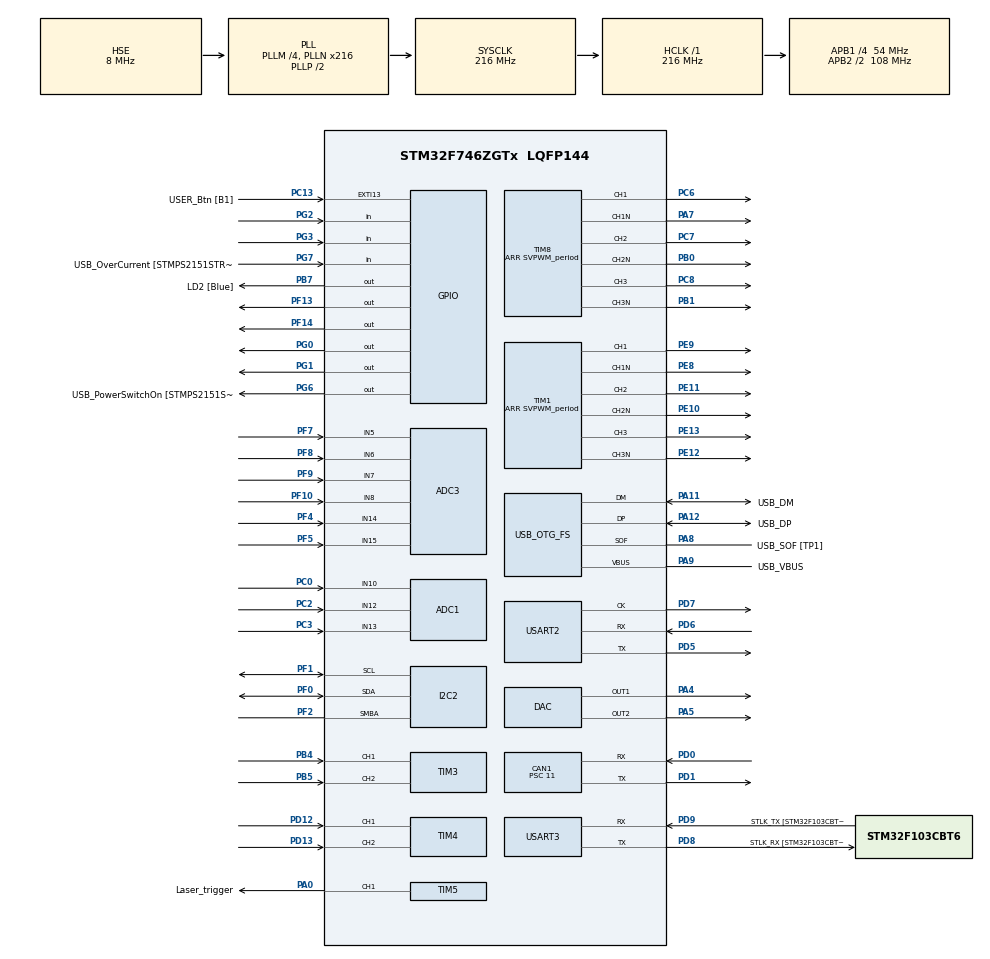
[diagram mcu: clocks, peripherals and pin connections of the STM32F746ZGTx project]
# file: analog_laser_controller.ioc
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ADC1.Channel-0\#ChannelRegularConversion=ADC_CHANNEL_10
ADC1.Channel-1\#ChannelRegularConversion=ADC_CHANNEL_10
ADC1.Channel-2\#ChannelRegularConversion=ADC_CHANNEL_13
ADC1.ContinuousConvMode=ENABLE
ADC1.NbrOfConversion=3
ADC1.NbrOfConversionFlag=1
ADC1.Rank-0\#ChannelRegularConversion=1
ADC1.Rank-1\#ChannelRegularConversion=2
ADC1.Rank-2\#ChannelRegularConversion=3
ADC1.SamplingTime-0\#ChannelRegularConversion=ADC_SAMPLETIME_112CYCLES
ADC1.SamplingTime-1\#ChannelRegularConversion=ADC_SAMPLETIME_56CYCLES
ADC1.SamplingTime-2\#ChannelRegularConversion=ADC_SAMPLETIME_112CYCLES
ADC1.ScanConvMode=ADC_SCAN_ENABLE
ADC1.master=1
ADC3.Channel-0\#ChannelRegularConversion=ADC_CHANNEL_5
ADC3.Channel-1\#ChannelRegularConversion=ADC_CHANNEL_6
ADC3.Channel-2\#ChannelRegularConversion=ADC_CHANNEL_7
ADC3.Channel-3\#ChannelRegularConversion=ADC_CHANNEL_8
ADC3.Channel-4\#ChannelRegularConversion=ADC_CHANNEL_14
ADC3.Channel-5\#ChannelRegularConversion=ADC_CHANNEL_15
ADC3.ContinuousConvMode=ENABLE
ADC3.NbrOfConversion=6
ADC3.NbrOfConversionFlag=1
ADC3.Rank-0\#ChannelRegularConversion=1
ADC3.Rank-1\#ChannelRegularConversion=2
ADC3.Rank-2\#ChannelRegularConversion=3
ADC3.Rank-3\#ChannelRegularConversion=4
ADC3.Rank-4\#ChannelRegularConversion=5
ADC3.Rank-5\#ChannelRegularConversion=6
ADC3.SamplingTime-0\#ChannelRegularConversion=ADC_SAMPLETIME_112CYCLES
ADC3.SamplingTime-1\#ChannelRegularConversion=ADC_SAMPLETIME_112CYCLES
ADC3.SamplingTime-2\#ChannelRegularConversion=ADC_SAMPLETIME_112CYCLES
ADC3.SamplingTime-3\#ChannelRegularConversion=ADC_SAMPLETIME_112CYCLES
ADC3.SamplingTime-4\#ChannelRegularConversion=ADC_SAMPLETIME_112CYCLES
ADC3.SamplingTime-5\#ChannelRegularConversion=ADC_SAMPLETIME_112CYCLES
CAN1.BS1=CAN_BS1_14TQ
CAN1.BS2=CAN_BS2_8TQ
CAN1.CalculateBaudRate=213438
CAN1.CalculateTimeBit=4685
CAN1.CalculateTimeQuantum=203.7037037037037
CAN1.Prescaler=11
Dma.ADC3.0.Direction=DMA_PERIPH_TO_MEMORY
Dma.ADC3.0.FIFOMode=DMA_FIFOMODE_DISABLE
Dma.ADC3.0.Instance=DMA2_Stream0
Dma.ADC3.0.MemDataAlignment=DMA_MDATAALIGN_HALFWORD
Dma.ADC3.0.MemInc=DMA_MINC_ENABLE
Dma.ADC3.0.Mode=DMA_CIRCULAR
Dma.ADC3.0.PeriphDataAlignment=DMA_PDATAALIGN_HALFWORD
Dma.ADC3.0.PeriphInc=DMA_PINC_DISABLE
Dma.ADC3.0.Priority=DMA_PRIORITY_LOW
Dma.Request0=ADC3
I2C2.Timeout=0x00008293
I2C2.Timing=0x20404768
Mcu.Family=STM32F7
Mcu.Name=STM32F746ZGTx
Mcu.Package=LQFP144
Mcu.UserConstants=SVPWM_period,4050
NVIC.DMA2_Stream0_IRQn=true\:0\:0\:false\:false\:true\:false\:true\:true
NVIC.OTG_FS_IRQn=true\:0\:0\:false\:false\:true\:false\:true\:true
NVIC.PriorityGroup=NVIC_PRIORITYGROUP_4
PA0/WKUP.GPIO_Label=Laser_trigger
PA0/WKUP.Signal=S_TIM5_CH1
PA10.GPIO_Label=USB_ID
PA10.Signal=USB_OTG_FS_ID
PA11.GPIO_Label=USB_DM
PA11.Mode=Device_Only
PA11.Signal=USB_OTG_FS_DM
PA12.GPIO_Label=USB_DP
PA12.Mode=Device_Only
PA12.Signal=USB_OTG_FS_DP
PA13.GPIO_Label=TMS
PA13.Mode=Serial_Wire
PA13.Signal=SYS_JTMS-SWDIO
PA14.GPIO_Label=TCK
PA14.Mode=Serial_Wire
PA14.Signal=SYS_JTCK-SWCLK
PA3.Signal=S_TIM5_CH4
PA4.Signal=COMP_DAC1_group
PA5.Signal=COMP_DAC2_group
PA7.GPIO_PuPd=GPIO_PULLUP
PA7.Mode=Output Compare1 CH1 CH1N
PA7.Signal=TIM8_CH1N
PA8.GPIO_Label=USB_SOF [TP1]
PA8.Mode=Activate_SOF_FS
PA8.Signal=USB_OTG_FS_SOF
PA9.GPIO_Label=USB_VBUS
PA9.Mode=Activate_VBUS
PA9.Signal=USB_OTG_FS_VBUS
PB0.Mode=Output Compare2 CH2 CH2N
PB0.Signal=TIM8_CH2N
PB1.Mode=Output Compare3 CH3 CH3N
PB1.Signal=TIM8_CH3N
PB13.GPIO_Label=RMII_TXD1 [LAN8742A-CZ-TR_TXD1]
PB13.Signal=ETH_TXD1
PB15.Signal=S_TIM12_CH2
PB4.Signal=S_TIM3_CH1
PB5.Signal=S_TIM3_CH2
PB7.GPIO_Label=LD2 [Blue]
PB7.Signal=GPIO_Output
PB8.Signal=S_TIM10_CH1
PB9.Signal=S_TIM11_CH1
PC0.Signal=ADCx_IN10
PC1.GPIO_Label=RMII_MDC [LAN8742A-CZ-TR_MDC]
PC1.Signal=ETH_MDC
PC13.GPIO_Label=USER_Btn [B1]
PC13.Signal=GPXTI13
PC14/OSC32_IN.Mode=LSE-External-Oscillator
PC14/OSC32_IN.Signal=RCC_OSC32_IN
PC15/OSC32_OUT.Mode=LSE-External-Oscillator
PC15/OSC32_OUT.Signal=RCC_OSC32_OUT
PC2.Signal=ADCx_IN12
PC3.Signal=ADCx_IN13
PC6.Signal=S_TIM8_CH1
PC7.Signal=S_TIM8_CH2
PC8.Signal=S_TIM8_CH3
PD0.Mode=CAN_Activate
PD0.Signal=CAN1_RX
PD1.Mode=CAN_Activate
PD1.Signal=CAN1_TX
PD12.Signal=S_TIM4_CH1
PD13.Signal=S_TIM4_CH2
PD3.Signal=USART2_CTS
PD4.Signal=USART2_RTS
PD5.Mode=Synchronous
PD5.Signal=USART2_TX
PD6.Mode=Synchronous
PD6.Signal=USART2_RX
PD7.Mode=Synchronous
PD7.Signal=USART2_CK
PD8.GPIO_Label=STLK_RX [STM32F103CBT6_PA3]
PD8.GPIO_PuPd=GPIO_PULLUP
PD8.Mode=Asynchronous
PD8.Signal=USART3_TX
PD9.GPIO_Label=STLK_TX [STM32F103CBT6_PA2]
PD9.GPIO_PuPd=GPIO_PULLUP
PD9.Mode=Asynchronous
PD9.Signal=USART3_RX
PE10.Mode=Output Compare2 CH2 CH2N
PE10.Signal=TIM1_CH2N
PE11.Signal=S_TIM1_CH2
PE12.Mode=Output Compare3 CH3 CH3N
PE12.Signal=TIM1_CH3N
PE13.Signal=S_TIM1_CH3
PE8.Mode=Output Compare1 CH1 CH1N
PE8.Signal=TIM1_CH1N
PE9.Signal=S_TIM1_CH1
PF0.Mode=SMBus-Alert-mode
PF0.Signal=I2C2_SDA
PF1.Mode=SMBus-Alert-mode
PF1.Signal=I2C2_SCL
PF10.Mode=IN8
PF10.Signal=ADC3_IN8
PF13.Signal=GPIO_Output
PF14.Signal=GPIO_Output
PF2.Mode=SMBus-Alert-mode
PF2.Signal=I2C2_SMBA
PF4.Mode=IN14
PF4.Signal=ADC3_IN14
PF5.Mode=IN15
PF5.Signal=ADC3_IN15
PF7.Mode=IN5
PF7.Signal=ADC3_IN5
PF8.Mode=IN6
PF8.Signal=ADC3_IN6
PF9.Mode=IN7
PF9.Signal=ADC3_IN7
PG0.Signal=GPIO_Output
PG1.Signal=GPIO_Output
PG2.Signal=GPIO_Input
PG3.Signal=GPIO_Input
PG6.GPIO_Label=USB_PowerSwitchOn [STMPS2151STR_EN]
PG6.Signal=GPIO_Output
PG7.GPIO_Label=USB_OverCurrent [STMPS2151STR_FAULT]
PG7.Signal=GPIO_Input
PH0/OSC_IN.GPIO_Label=MCO [STM32F103CBT6_PA8]
PH0/OSC_IN.Mode=HSE-External-Clock-Source
PH0/OSC_IN.Signal=RCC_OSC_IN
PH1/OSC_OUT.Mode=HSE-External-Clock-Source
PH1/OSC_OUT.Signal=RCC_OSC_OUT
ProjectManager.HeapSize=0x200
ProjectManager.StackSize=0x400
ProjectManager.TargetToolchain=STM32CubeIDE
RCC.48MHZClocksFreq_Value=24000000
RCC.AHBFreq_Value=216000000
RCC.APB1CLKDivider=RCC_HCLK_DIV4
RCC.APB1Freq_Value=54000000
RCC.APB1TimFreq_Value=108000000
RCC.APB2CLKDivider=RCC_HCLK_DIV2
RCC.APB2Freq_Value=108000000
RCC.APB2TimFreq_Value=216000000
RCC.CortexFreq_Value=216000000
RCC.HCLKFreq_Value=216000000
RCC.HSE_VALUE=8000000
RCC.HSI_VALUE=16000000
RCC.PLLM=4
RCC.PLLMUL=RCC_PLL_MUL9
RCC.PLLN=216
RCC.PLLQ=9
RCC.PRESCALERUSB=RCC_USBCLKSOURCE_PLL_DIV1_5
RCC.SYSCLKFreq_VALUE=216000000
RCC.SYSCLKSource=RCC_SYSCLKSOURCE_PLLCLK
RCC.SYSCLKSourceVirtual=RCC_SYSCLKSOURCE_PLLCLK
RCC.USBFreq_Value=48000000
RCC.VCOOutputFreq_Value=432000000
SH.ADCx_IN10.0=ADC1_IN10,IN10
SH.ADCx_IN12.0=ADC1_IN12,IN12
SH.ADCx_IN13.0=ADC1_IN13,IN13
SH.COMP_DAC1_group.0=DAC_OUT1,DAC_OUT1
SH.COMP_DAC2_group.0=DAC_OUT2,DAC_OUT2
SH.S_TIM10_CH1.0=TIM10_CH1
SH.S_TIM11_CH1.0=TIM11_CH1
SH.S_TIM12_CH2.0=TIM12_CH2
SH.S_TIM1_CH1.0=TIM1_CH1,Output Compare1 CH1 CH1N
SH.S_TIM1_CH2.0=TIM1_CH2,Output Compare2 CH2 CH2N
SH.S_TIM1_CH3.0=TIM1_CH3,Output Compare3 CH3 CH3N
SH.S_TIM3_CH1.0=TIM3_CH1,Encoder_Interface
SH.S_TIM3_CH2.0=TIM3_CH2,Encoder_Interface
SH.S_TIM4_CH1.0=TIM4_CH1,Encoder_Interface
SH.S_TIM4_CH2.0=TIM4_CH2,Encoder_Interface
SH.S_TIM5_CH1.0=TIM5_CH1,PWM Generation1 CH1
SH.S_TIM5_CH4.0=TIM5_CH4
SH.S_TIM8_CH1.0=TIM8_CH1,Output Compare1 CH1 CH1N
SH.S_TIM8_CH2.0=TIM8_CH2,Output Compare2 CH2 CH2N
SH.S_TIM8_CH3.0=TIM8_CH3,Output Compare3 CH3 CH3N
TIM1.Channel-Output\ Compare1\ CH1\ CH1N=TIM_CHANNEL_1
TIM1.Channel-Output\ Compare2\ CH2\ CH2N=TIM_CHANNEL_2
TIM1.Channel-Output\ Compare3\ CH3\ CH3N=TIM_CHANNEL_3
TIM1.CounterMode=TIM_COUNTERMODE_CENTERALIGNED1
TIM1.DeadTime=100
TIM1.Period=SVPWM_period
TIM1.Pulse-Output\ Compare1\ CH1\ CH1N=1000
TIM1.Pulse-Output\ Compare2\ CH2\ CH2N=1000
TIM1.Pulse-Output\ Compare3\ CH3\ CH3N=1000
TIM2.Prescaler=107
TIM3.EncoderMode=TIM_ENCODERMODE_TI12
TIM3.IC2Polarity=TIM_ICPOLARITY_FALLING
TIM4.EncoderMode=TIM_ENCODERMODE_TI12
TIM4.IC2Polarity=TIM_ICPOLARITY_FALLING
TIM5.AutoReloadPreload=TIM_AUTORELOAD_PRELOAD_ENABLE
TIM5.Channel-PWM\ Generation1\ CH1=TIM_CHANNEL_1
TIM5.CounterMode=TIM_COUNTERMODE_UP
TIM5.Period=5000
TIM5.Prescaler=108-1
TIM5.Pulse-PWM\ Generation1\ CH1=1000
TIM8.Channel-Output\ Compare1\ CH1\ CH1N=TIM_CHANNEL_1
TIM8.Channel-Output\ Compare2\ CH2\ CH2N=TIM_CHANNEL_2
TIM8.Channel-Output\ Compare3\ CH3\ CH3N=TIM_CHANNEL_3
TIM8.CounterMode=TIM_COUNTERMODE_CENTERALIGNED1
TIM8.DeadTime=100
TIM8.Period=SVPWM_period
TIM8.Pulse-Output\ Compare1\ CH1\ CH1N=1000
TIM8.Pulse-Output\ Compare2\ CH2\ CH2N=1000
TIM8.Pulse-Output\ Compare3\ CH3\ CH3N=1000
USART2.VirtualMode-Synchronous=VM_SYNC
USART3.VirtualMode-Asynchronous=VM_ASYNC
USB_DEVICE.CLASS_NAME_FS=CDC
USB_DEVICE.VirtualMode-CDC_FS=Cdc
USB_DEVICE.VirtualModeFS=Cdc_FS
USB_OTG_FS.VirtualMode=Device_Only
VP_ADC1_TempSens_Input.Mode=IN-TempSens
VP_ADC1_Vref_Input.Mode=IN-Vrefint
VP_TIM12_VS_ClockSourceITR.Mode=TriggerSource_ITR0
VP_TIM12_VS_ControllerModeTrigger.Mode=Trigger Mode
VP_TIM1_VS_ClockSourceINT.Mode=Internal
VP_TIM2_VS_ClockSourceINT.Mode=Internal
VP_TIM5_VS_ClockSourceINT.Mode=Internal
VP_TIM5_VS_OPM.Mode=OPM_bit
VP_USB_DEVICE_VS_USB_DEVICE_CDC_FS.Mode=CDC_FS
board=NUCLEO-F746ZG

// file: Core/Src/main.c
/* USER CODE BEGIN Header */
/**
  ******************************************************************************
  * @file           : main.c
  * @brief          : Main program body
  ******************************************************************************
  * @attention
  *
  * Copyright (c) 2023 STMicroelectronics.
  * All rights reserved.
  *
  * This software is licensed under terms that can be found in the LICENSE file
  * in the root directory of this software component.
  * If no LICENSE file comes with this software, it is provided AS-IS.
  *
  ******************************************************************************
  */
/* USER CODE END Header */
#include "main.h"
#include "usb_device.h"

/* USER CODE BEGIN Includes */
#include <arm_math.h>
#include "FOC.h"
/* USER CODE END Includes */

/* USER CODE BEGIN PTD */
//POCIS encoder BB=07 CC=12
/* USER CODE END PTD */

/* USER CODE BEGIN PD */
#define motor_pole_pairs 1 //number of motor pole pairs
#define accel_limit 3000 //accel limit
#define accel_limit2 2500 //accel limit
#define angle_range 0.2 //full scale angle range
#define angle_range2 0.335 //full scale angle range
/* USER CODE END PD */

ADC_HandleTypeDef hadc1;
ADC_HandleTypeDef hadc3;
DMA_HandleTypeDef hdma_adc3;

CAN_HandleTypeDef hcan1;

DAC_HandleTypeDef hdac;

SMBUS_HandleTypeDef hsmbus2;

TIM_HandleTypeDef htim1;
TIM_HandleTypeDef htim2;
TIM_HandleTypeDef htim3;
TIM_HandleTypeDef htim4;
TIM_HandleTypeDef htim5;
TIM_HandleTypeDef htim8;
TIM_HandleTypeDef htim12;

USART_HandleTypeDef husart2;
UART_HandleTypeDef huart3;

/* USER CODE BEGIN PV */
int16_t encoder1, encoder2;
float current_position,rot_angle, Torq_const,Torq_const2;
int current_sector;
uint32_t time_base,t1,t2,time_step,move_time_base,move_start_time,move_end_time;
float shaft_angle, electrical_angle, target_angle, angle_error, rms_error, current_position;
float move_start_position, move_position[2],move_distance,move_mid_point,target_profile, target_velocity;
float accel_time, decel_time, move_time;
uint16_t over_current=0,over_current2=0,over_current_count,over_current_count2;
float current_position2,rot_angle2, Torq_const2;
int current_sector2;
uint32_t move_time_base2,move_start_time2,move_end_time2;
float shaft_angle2, electrical_angle2, target_angle2, angle_error2, current_position2;
float move_start_position2, move_position2[2],move_distance2,move_mid_point2,target_profile2, target_velocity2;
float accel_time2, decel_time2, move_time2;

//float pid_K=1000, pid_Ki=0, pid_kd=50000, pid_out, tune=0;
float pid_K=200, pid_Ki=0, pid_kd=3000, pid_out, tune=0;
//float pid_K=10, pid_Ki=0, pid_kd=100, pid_out, tune=0;
float pid2_K=200, pid2_Ki=0, pid2_kd=3000, pid2_out, tune2=0;

//0.8226
//float rotor_offset1=5.51,rotor_offset2=5.14;
//float rotor_offset1=5.535,rotor_offset2=5.14;
//float rotor_offset1=0.8176,rotor_offset2=5.14;
//float rotor_offset1=0,rotor_offset2=2*2*_PI/3;
float home_offset=0, home2_offset=0;//4*_PI_div3;
float rotor[2],rotor2[2];
int motor_homed,motor2_homed;

int laser_on=0;
//float rotor_offset1=5.475,rotor_offset2=5.2;
/* USER CODE END PV */

void SystemClock_Config(void);
static void MX_GPIO_Init(void);
static void MX_DMA_Init(void);
static void MX_USART3_UART_Init(void);
static void MX_TIM1_Init(void);
static void MX_TIM8_Init(void);
static void MX_TIM2_Init(void);
static void MX_TIM3_Init(void);
static void MX_TIM4_Init(void);
static void MX_TIM5_Init(void);
static void MX_ADC1_Init(void);
static void MX_ADC3_Init(void);
static void MX_CAN1_Init(void);
static void MX_I2C2_SMBUS_Init(void);
static void MX_TIM12_Init(void);
static void MX_DAC_Init(void);
static void MX_USART2_Init(void);

/* USER CODE BEGIN 0 */
uint8_t usb_rx_buffer[15];
uint8_t usb_tx_buffer[14];
uint8_t usb_tx_buffer1[14];
uint8_t usb_tx_buffer2[14];

uint8_t usb_rx_flag=0;
float val = 1.2;
uint32_t var;
uint8_t Galvo1_target[]="0700 ";
uint8_t Galvo2_target[]="0700 ";
uint16_t target_position1=7000;
uint16_t target_position2=7000;
uint8_t Laser_t[]="000";
uint16_t laser_duration=0;
uint16_t encoder1_position, encoder2_position;
uint16_t temp1=-1, temp2=-1;
uint8_t buffer[] = "Hello, World!\r\n";
uint16_t AD_RES[6]; //adc test value

/* USER CODE END 0 */

int main(void)
{
  /* USER CODE BEGIN 1 */
struct usb_tx {
	int16_t encoder1, encoder2;
	uint32_t time;
	uint32_t laser_time;
	uint32_t rmse;
	uint32_t laser_on;
};

struct usb_tx galvo_tx, *ptr_galvo_tx;
ptr_galvo_tx=&galvo_tx;
  /* USER CODE END 1 */

  /* MCU Configuration--------------------------------------------------------*/

  /* Reset of all peripherals, Initializes the Flash interface and the Systick. */
  HAL_Init();

  /* USER CODE BEGIN Init */
  arm_pid_instance_f32 pid;
  arm_pid_instance_f32 pid2;
  // Initialize PID loop
//Motor1 PID control
  pid.Kp=pid_K;
  pid.Ki=pid_Ki;
  pid.Kd=pid_kd;
  arm_pid_init_f32(&pid, 1);

  //Motor2 PID control
    pid2.Kp=pid2_K;
    pid2.Ki=pid2_Ki;
    pid2.Kd=pid2_kd;
    arm_pid_init_f32(&pid2, 1);
  /* USER CODE END Init */

  /* Configure the system clock */
  SystemClock_Config();

  /* Initialize all configured peripherals */
  MX_GPIO_Init();
  MX_DMA_Init();
  MX_USART3_UART_Init();
  MX_USB_DEVICE_Init();
  MX_TIM1_Init();
  MX_TIM8_Init();
  MX_TIM2_Init();
  MX_TIM3_Init();
  MX_TIM4_Init();
  MX_TIM5_Init();
  MX_ADC1_Init();
  MX_ADC3_Init();
  MX_CAN1_Init();
  MX_I2C2_SMBUS_Init();
  MX_TIM12_Init();
  MX_DAC_Init();
  MX_USART2_Init();
  /* USER CODE BEGIN 2 */
  //1microsecond time base
  HAL_TIM_Base_Start(&htim2);

  //Dynamic homing to reduce static friction
 // SVPWM(12,electricalAngle(0.001,1),1);
 // SVPWM(12,electricalAngle(0.001,1),2);
  //HAL_Delay(500);
  //SVPWM(12,electricalAngle(rotor_offset1-0.05,1),1);
 // SVPWM(12,electricalAngle(rotor_offset2-0.05,1),2);
 //HAL_Delay(500);
 // SVPWM(12,electricalAngle(rotor_offset1,1),1);
//  SVPWM(12,electricalAngle(rotor_offset2,1),2);
  //SVPWM(0,electricalAngle(rotor_offset1,motor_pole_pairs),1);
 // SVPWM(0,electricalAngle(rotor_offset2,motor_pole_pairs),2);

  //HAL_DAC_Start(&hdac, DAC_CHANNEL_1);
  //HAL_DAC_Start(&hdac, DAC_CHANNEL_2);
  //Start SVPWM timers
  HAL_TIM_PWM_Start(&htim1, TIM_CHANNEL_1);
  HAL_TIMEx_PWMN_Start(&htim1, TIM_CHANNEL_1);
  HAL_TIM_PWM_Start(&htim1, TIM_CHANNEL_2);
  HAL_TIMEx_PWMN_Start(&htim1, TIM_CHANNEL_2);
  HAL_TIM_PWM_Start(&htim1, TIM_CHANNEL_3);
  HAL_TIMEx_PWMN_Start(&htim1, TIM_CHANNEL_3);

  HAL_TIM_PWM_Start(&htim8, TIM_CHANNEL_1);
  HAL_TIMEx_PWMN_Start(&htim8, TIM_CHANNEL_1);
  HAL_TIM_PWM_Start(&htim8, TIM_CHANNEL_2);
  HAL_TIMEx_PWMN_Start(&htim8, TIM_CHANNEL_2);
  HAL_TIM_PWM_Start(&htim8, TIM_CHANNEL_3);
  HAL_TIMEx_PWMN_Start(&htim8, TIM_CHANNEL_3);

  HAL_TIM_OnePulse_Start(&htim5, TIM_CHANNEL_1);
    TIM5->ARR = 0;
  //TIM5->CCMR1 = 0b1100000;
 //   SVPWM(1,electricalAngle(rotor_offset1+0.5,motor_pole_pairs),1);
 //   SVPWM(1,electricalAngle(rotor_offset2-0.5,motor_pole_pairs),2);

HAL_Delay(1000);
//TIM5->CR1 |= TIM_CR1_CEN;
//HAL_Delay(1000);
//TIM5->CR1 |= TIM_CR1_CEN;
//HAL_Delay(1000);
  //Start Encoders
  //Enable encoders
  HAL_TIM_Encoder_Start(&htim3, TIM_CHANNEL_ALL);
  HAL_TIM_Encoder_Start(&htim4, TIM_CHANNEL_ALL);
 //  SVPWM(0,electricalAngle(rotor_offset1,motor_pole_pairs),1);
//   SVPWM(0,electricalAngle(rotor_offset2,motor_pole_pairs),2);

 // TIM3->CNT=30000;
  encoder1 = __HAL_TIM_GET_COUNTER(&htim3);
  encoder2 = __HAL_TIM_GET_COUNTER(&htim4);
  //home
 // home_offset=align_mirror();
  home_offset=(3 * _PI / 2) - 0.2292; //+ 0.2; //_PI/4+_PI;//2.5*_PI_div3+_2PI;
  home2_offset= (2 *_PI) - 1.54;

	if(motor_homed==0)
	{
		SVPWM(1,electricalAngle((home_offset+_PI/2),motor_pole_pairs),1);
	  HAL_Delay(2000);
	  TIM3->CNT=0;
	  encoder1 = (int16_t) TIM3->CNT;

//	  rotor[0]=shaftAngle(encoder1);
//	  SVPWM(1,electricalAngle(rotor_offset1+0.2,motor_pole_pairs),1);
//	  HAL_Delay(2000);
//	  encoder1 = (int16_t) TIM3->CNT;
//	  rotor[1]=shaftAngle(encoder1);
	//  home_offset=(rotor[1]-rotor[0])/2;

	  SVPWM(1,electricalAngle((home2_offset+_PI/2),motor_pole_pairs),2);
	  HAL_Delay(2000);
	  TIM4->CNT=0;
	  encoder2 = (int16_t) TIM4->CNT;
		//  rotor2[0]=shaftAngle(encoder2);
		//  SVPWM(1,electricalAngle(rotor_offset1-0.5,motor_pole_pairs),2);
		//  HAL_Delay(2000);
		//  encoder2 = (int16_t) TIM4->CNT;
	//	  rotor2[1]=shaftAngle(encoder2);
		//  home2_offset=-(rotor2[1]-rotor2[0])/2;

		//  SVPWM(1,electricalAngle(rotor_offset2-0.5,motor_pole_pairs),2);
		//  HAL_Delay(1000);
		  motor_homed=1;

	}
	TIM3->CNT=0;
	encoder1 = (int16_t) TIM3->CNT;
	TIM4->CNT=0;
	encoder2 = (int16_t) TIM4->CNT;

	target_angle=shaftAngle(4800);//shaftAngle(4500);// 0.1;
	  target_angle2= shaftAngle(4800);//shaftAngle(4500);// 0.1;// 0.17;
	  move_position[0]=target_angle;
	  move_position[1]=target_angle;
	  move_position2[0]=target_angle2;
	   move_position2[1]=target_angle2;

   //HAL_Delay(1000);
  //read encoders
  // encoder1 =(float)TIM3->CNT-30000;
  // encoder2 = __HAL_TIM_GET_COUNTER(&htim4);

  /* USER CODE END 2 */

  /* Infinite loop */
  /* USER CODE BEGIN WHILE */

  //Code to test motor
 //  HAL_ADCEx_Calibration_Start(&hadc1, ADC_SINGLE_ENDED);
 //  HAL_ADCEx_Calibration_Start(&hadc1,ADC_SINGLE_ENDED);
   HAL_ADC_Start_DMA(&hadc3, &AD_RES, 6);
//  while (rot_angle<_2PI)
//  {
//  //	FOC5(rot_angle);
//
//	SVPWM(3,electricalAngle(rot_angle,1),1);
//	SVPWM(3,electricalAngle(rot_angle,1),2);
//  	rot_angle+=0.0001;
//  	//HAL_Delay(5);
//  	current_sector=get_sector(rot_angle);
//  	if(rot_angle>_2PI)
//  	{
//  		rot_angle=0;
//  		HAL_Delay(1500);
//  		//SVPWM(6,electricalAngle(0,1),2);
//  		//TIM3->CNT=0;
//  	}
//
//  	encoder1 = __HAL_TIM_GET_COUNTER(&htim3);
//  	encoder2 = __HAL_TIM_GET_COUNTER(&htim4);
//  	current_position=shaftAngle(encoder1);
//  	current_position2=shaftAngle(encoder2);
//  	pid_out=arm_pid_f32(&pid, angle_error);
//
//
//    // Start ADC Conversion
//     //HAL_ADC_Start(&hadc3);
//    // Poll ADC1 Perihperal & TimeOut = 1mSec
//   //  HAL_ADC_PollForConversion(&hadc3, 1);
//    // Read The ADC Conversion Result & Map It To PWM DutyCycle
//   //  AD_RES = HAL_ADC_GetValue(&hadc3);
//
//  }

  while (1)
  {
	  //calculate cycle time
	  	time_base=__HAL_TIM_GET_COUNTER(&htim2);
	 	t1=t2;
		t2=time_base;
		time_step=t2-t1;

	  //read encoders
		 encoder1 = (int16_t) TIM3->CNT;
		 //encoder1 = encoder1-30000;
		 encoder2 = (int16_t) TIM4->CNT;

	if (move_position[0]!=move_position[1])
	{
		move_start_time=time_base;
		move_position[1]=current_position;
		move_start_position=current_position;
		move_distance=move_position[0]-move_position[1];
		move_mid_point=move_position[1]+move_distance/2;
		//accel time in us
		accel_time=(float) sqrt(2*(fabs(move_distance))/accel_limit)*1e6;
		decel_time=accel_time;
		//duration of move (triangular profile)
		move_time=accel_time+accel_time;
		move_end_time=time_base+move_time;
		move_position[1]=move_position[0];
	}
		if (time_base<move_end_time)
		{
			move_time_base=time_base-move_start_time; //timer started at beginning of move
			if (time_base<move_start_time+move_time/2)
			{

				if(move_distance>0)
				{
					target_velocity=accel_limit*move_time_base/1e6;
					target_profile=move_start_position+(accel_limit*move_time_base/1e6*move_time_base/1e6)/4;
				}
				else
				{
					target_velocity=-accel_limit*move_time_base/1e6;
					target_profile=move_start_position-(accel_limit*move_time_base/1e6*move_time_base/1e6)/4;

				}
			}
			else
			{
				if(move_distance>0)
				{
					target_velocity=accel_limit*(accel_time/1e6-((move_time_base-decel_time)/1e6));
					target_profile=move_position[0]-(accel_limit*(move_end_time-time_base)/1e6*(move_end_time-time_base)/1e6/4);
				}
				else
				{
					target_velocity=accel_limit*(accel_time/1e6-((move_time_base-decel_time)/1e6));
					target_profile=move_position[0]+(accel_limit*(move_end_time-time_base)/1e6*(move_end_time-time_base)/1e6/4);

				}
			}

			target_angle=target_profile;
		}
		else
		{
			target_angle=move_position[0];

		}

		//Motor 2
		if (move_position2[0]!=move_position2[1])
		{
			move_start_time2=time_base;
			move_position2[1]=current_position2;
			move_start_position2=current_position2;
			move_distance2=move_position2[0]-move_position2[1];
			move_mid_point2=move_position2[1]+move_distance2/2;
			//accel time in us
			accel_time2=(float) sqrt(2*(fabs(move_distance2))/accel_limit2)*1e6;
			decel_time2=accel_time2;
			//duration of move (triangular profile)
			move_time2=accel_time2+accel_time2;
			move_end_time2=time_base+move_time2;
			move_position2[1]=move_position2[0];
		}
			if (time_base<move_end_time2)
			{
				move_time_base2=time_base-move_start_time2; //timer started at beginning of move
				if (time_base<move_start_time2+move_time2/2)
				{

					if(move_distance2>0)
					{
						target_velocity2=accel_limit*move_time_base2/1e6;
						target_profile2=move_start_position2+(accel_limit*move_time_base2/1e6*move_time_base2/1e6)/4;
					}
					else
					{
						target_velocity2=-accel_limit2*move_time_base2/1e6;
						target_profile2=move_start_position2-(accel_limit*move_time_base2/1e6*move_time_base2/1e6)/4;

					}
				}
				else
				{
					if(move_distance2>0)
					{
						target_velocity2=accel_limit*(accel_time2/1e6-((move_time_base2-decel_time2)/1e6));
						target_profile2=move_position2[0]-(accel_limit2*(move_end_time2-time_base)/1e6*(move_end_time2-time_base)/1e6/4);
					}
					else
					{
						target_velocity2=accel_limit*(accel_time2/1e6-((move_time_base2-decel_time2)/1e6));
						target_profile2=move_position2[0]+(accel_limit2*(move_end_time2-time_base)/1e6*(move_end_time2-time_base)/1e6/4);

					}
				}

				target_angle2=target_profile2;
			}
			else
			{
				target_angle2=move_position2[0];

			}

		//calculate angular position in radians
		 shaft_angle=shaftAngle(encoder1);
		 shaft_angle2=shaftAngle(encoder2);
		 current_position=shaft_angle;//+home_offset;
		 current_position2=shaft_angle2;//+home2_offset;
		// electrical_angle=electricalAngle(shaft_angle-home_offset,motor_pole_pairs);
	//	 electrical_angle2=electricalAngle(shaft_angle2+home2_offset,motor_pole_pairs);
		 angle_error=(target_angle-current_position);
		 angle_error2=target_angle2-current_position2;
		 pid_out=arm_pid_f32(&pid, angle_error);
		 pid2_out=arm_pid_f32(&pid2, angle_error2);

		 if (pid_out<0)
		 	    {
		 	    	Torq_const=pid_out;
		 	    	if(Torq_const<=(-6))
		 	    	{
		 	    		Torq_const=-6;
		 	    	}
		 	    	//SVPWM(Torq_const,electricalAngle((shaft_angle+home_offset-1.57),1),1);
		 	    }
		 	    else
		 	    {
		 	    	Torq_const=pid_out;
		 	    	if(Torq_const>=6)
		 	    	{
		 	    		Torq_const=6;
		 	    	}
		 	    //	SVPWM(Torq_const,electricalAngle((shaft_angle+home_offset-1.57),1),1);
		 	    }

		// SVPWM(0,electricalAngle(rotor_offset1,1),1);
		 if (pid2_out<0)
		 	    {
		 	    	Torq_const2=pid2_out;
		 	    	if(Torq_const2<(-6))
		 	    	{
		 	    		Torq_const2=-6;
		 	    	}
		 	    //	SVPWM(Torq_const,electricalAngle(shaft_angle2-1.57,1),2);
		 	    }
		 	    else
		 	    {
		 	    	Torq_const2=pid2_out;
		 	    	if(Torq_const2>6)
		 	    	{
		 	    		Torq_const2=6;
		 	    	}
		 	    //	SVPWM(Torq_const,electricalAngle(shaft_angle2-1.57,1),2);
		 	    }

		 //SVPWM(0,electricalAngle(rotor_offset2,1),2);
	HAL_DAC_SetValue(&hdac, DAC_CHANNEL_1, DAC_ALIGN_12B_R, target_position1);
	HAL_DAC_SetValue(&hdac, DAC_CHANNEL_2, DAC_ALIGN_12B_R, target_position2);

	//over_current=sqrt(pow(AD_RES[0],2)+pow(AD_RES[1],2)+pow(AD_RES[0],2));
	over_current=AD_RES[0]+AD_RES[1]+AD_RES[2];
	//if(over_current>7000)
	if(over_current>6000)
	{
		over_current_count++;
	}
	else
	{
		if(over_current_count>0) over_current_count--;
	}
	if(over_current_count>3000)
	//if(over_current_count>4000)
	{
		//TIM1->CCR1=0;
		//TIM1->CCR2=0;
		//TIM1->CCR3=0;
		Torq_const=0;
		over_current_count+=3;
	}
	over_current2=AD_RES[3]+AD_RES[4]+AD_RES[5];
	//if(over_current2>7000)
	if(over_current2>6000)
	{
		over_current_count2++;
	}
	else
	{
		if(over_current_count2>0) over_current_count2--;
	}

	if(over_current_count2>3000)
	//if(over_current_count>4000)
	{
		//TIM1->CCR1=0;
		//TIM1->CCR2=0;
		//TIM1->CCR3=0;
		Torq_const2=0;
		over_current_count2+=3;
	}
	//SVPWM(Torq_const,electricalAngle((_PI-(shaft_angle+home_offset-(3*_PI/2))),1),1);
	SVPWM(Torq_const, electricalAngle(-(shaft_angle + home_offset), 1), 1);
	SVPWM(Torq_const2, electricalAngle(-(shaft_angle2 + home2_offset) + 1.5716, 1), 2);

	rms_error=sqrt(pow(move_position[0]-current_position,2)+pow(move_position2[0]-current_position2,2));

if((rms_error<0.0002)&&laser_on==1)
{
	//TIM5->ARR = 5000;
	//laser_duration=0;
	//TIM5->CCR1 = 100;//(uint32_t)(laser_duration*1000);
	//TIM5->ARR =10000;//(uint32_t)(laser_duration*1000)+1000;

	TIM5->CNT=0;
	TIM5->EGR |= TIM_EGR_UG;
	TIM5->CR1 |= TIM_CR1_CEN;

	laser_on=0;

}

//	val=val+100;
//	uint8_t buffer[] = "Hello, World!\r\n";

	//CDC_Transmit_FS(buffer, sizeof(val));
//HAL_Delay(2000);

if (usb_rx_flag==1)
{
	   usb_rx_flag=0;
	   memcpy(Galvo1_target, usb_rx_buffer, (8*5));
	   Galvo1_target[5]=0;
	   memcpy(Galvo2_target, &usb_rx_buffer[5], (8*5));
	   Galvo2_target[5]=0;
	   memcpy(Laser_t, &usb_rx_buffer[10], (3));
	   temp1=atoi(Galvo1_target);
	   temp2=atoi(Galvo2_target);
	   laser_duration=atoi(Laser_t);
	   target_position1=temp1;
	   target_position2=temp2;
//TIM5->CNT=0;
		//TIM5->CCR1 = (uint32_t)(laser_duration*1000);
		//TIM5->ARR =(uint32_t)(laser_duration*1000)+1000;
	  //
	   if(laser_duration>0)
	   {
		//TIM5->CNT=0;
	   TIM5->CCR1 = 100;
	   TIM5->ARR = (uint32_t)(laser_duration*1000);
	   laser_on=1;
	   }
	//TIM5->CR1 |= TIM_CR1_CEN;

		//TIM5->CCR1 = (uint32_t)1;
		//TIM5->ARR =(uint32_t)10000;

	   if ((temp1>0)&&(shaftAngle(temp1)<angle_range))

	 //  if ((temp1>0)&&(temp1<4096))
	  		{
		   move_position[0]=shaftAngle(temp1);
		//   move_position[0]=(angle_range/4095*(float)temp1);//-(angle_range/2);
	  		}
	   if ((temp2>0)&&(shaftAngle(temp2)<angle_range2))
	  		{
		   move_position2[0]=shaftAngle(temp2);
		  // move_position2[0]=(angle_range2/4095*(float)temp2);//-(angle_range2/2);
	  		}
	   if(temp1==0)
	   {
		//   move_position[0]=(float)-angle_range/2;
	   }
	   if(temp2==0)
	   {
		  // move_position2[0]=(float)-angle_range/2;
	   }

	   /*
	   itoa(encoder2,usb_tx_buffer2,10);
	   itoa(encoder1,usb_tx_buffer1,10);
	   memset(usb_tx_buffer, '\0', sizeof(usb_tx_buffer));
	   strcpy(usb_tx_buffer,usb_tx_buffer1);
	  strncat(usb_tx_buffer, " ", 1);
	  strncat(usb_tx_buffer, usb_tx_buffer2,sizeof(usb_tx_buffer2));
   target_position1=atoi(usb_rx_buffer);
//	  CDC_Transmit_FS(usb_rx_buffer, sizeof(usb_rx_buffer));
 // CDC_Transmit_FS(encoder1, sizeof(encoder1));
 // val=target_position1;
	  uint8_t buffer[] = "Hello, World!\r\n";
//	  CDC_Transmit_FS(usb_tx_buffer, sizeof(usb_tx_buffer));
	//  CDC_Transmit_FS(buffer, sizeof(buffer));
	//  CDC_Transmit_FS((uint8_t *) &encoder2,sizeof(encoder2));
	  galvo_tx.encoder1=encoder1;
	  galvo_tx.encoder2=encoder2;
	  galvo_tx.position[0]=current_position;
	  galvo_tx.position[1]=current_position2;
	  galvo_tx.laser_state=laser_on;
	  galvo_tx.time=time_base;
	  CDC_Transmit_FS((uint8_t *) &galvo_tx,sizeof(galvo_tx));
		*/

}

galvo_tx.encoder1=encoder1;
galvo_tx.encoder2=encoder2;
galvo_tx.time=time_base;
galvo_tx.laser_time=(uint32_t)(TIM5->CNT/1000);
galvo_tx.rmse= (uint32_t)(rms_error * 10000);
galvo_tx.laser_on=(uint32_t)(laser_on);
CDC_Transmit_FS((uint8_t *) &galvo_tx,sizeof(galvo_tx));

    /* USER CODE END WHILE */

  }
}

void SystemClock_Config(void)
{
  RCC_OscInitTypeDef RCC_OscInitStruct = {0};
  RCC_ClkInitTypeDef RCC_ClkInitStruct = {0};

  /** Configure LSE Drive Capability
  */
  HAL_PWR_EnableBkUpAccess();

  /** Configure the main internal regulator output voltage
  */
  __HAL_RCC_PWR_CLK_ENABLE();
  __HAL_PWR_VOLTAGESCALING_CONFIG(PWR_REGULATOR_VOLTAGE_SCALE1);

  /** Initializes the RCC Oscillators according to the specified parameters
  * in the RCC_OscInitTypeDef structure.
  */
  RCC_OscInitStruct.OscillatorType = RCC_OSCILLATORTYPE_HSE;
  RCC_OscInitStruct.HSEState = RCC_HSE_BYPASS;
  RCC_OscInitStruct.PLL.PLLState = RCC_PLL_ON;
  RCC_OscInitStruct.PLL.PLLSource = RCC_PLLSOURCE_HSE;
  RCC_OscInitStruct.PLL.PLLM = 4;
  RCC_OscInitStruct.PLL.PLLN = 216;
  RCC_OscInitStruct.PLL.PLLP = RCC_PLLP_DIV2;
  RCC_OscInitStruct.PLL.PLLQ = 9;
  if (HAL_RCC_OscConfig(&RCC_OscInitStruct) != HAL_OK)
  {
    Error_Handler();
  }

  /** Activate the Over-Drive mode
  */
  if (HAL_PWREx_EnableOverDrive() != HAL_OK)
  {
    Error_Handler();
  }

  /** Initializes the CPU, AHB and APB buses clocks
  */
  RCC_ClkInitStruct.ClockType = RCC_CLOCKTYPE_HCLK|RCC_CLOCKTYPE_SYSCLK
                              |RCC_CLOCKTYPE_PCLK1|RCC_CLOCKTYPE_PCLK2;
  RCC_ClkInitStruct.SYSCLKSource = RCC_SYSCLKSOURCE_PLLCLK;
  RCC_ClkInitStruct.AHBCLKDivider = RCC_SYSCLK_DIV1;
  RCC_ClkInitStruct.APB1CLKDivider = RCC_HCLK_DIV4;
  RCC_ClkInitStruct.APB2CLKDivider = RCC_HCLK_DIV2;

  if (HAL_RCC_ClockConfig(&RCC_ClkInitStruct, FLASH_LATENCY_7) != HAL_OK)
  {
    Error_Handler();
  }
}

static void MX_ADC1_Init(void)
{

  ADC_ChannelConfTypeDef sConfig = {0};

  /** Configure the global features of the ADC (Clock, Resolution, Data Alignment and number of conversion)
  */
  hadc1.Instance = ADC1;
  hadc1.Init.ClockPrescaler = ADC_CLOCK_SYNC_PCLK_DIV4;
  hadc1.Init.Resolution = ADC_RESOLUTION_12B;
  hadc1.Init.ScanConvMode = ADC_SCAN_ENABLE;
  hadc1.Init.ContinuousConvMode = ENABLE;
  hadc1.Init.DiscontinuousConvMode = DISABLE;
  hadc1.Init.ExternalTrigConvEdge = ADC_EXTERNALTRIGCONVEDGE_NONE;
  hadc1.Init.ExternalTrigConv = ADC_SOFTWARE_START;
  hadc1.Init.DataAlign = ADC_DATAALIGN_RIGHT;
  hadc1.Init.NbrOfConversion = 3;
  hadc1.Init.DMAContinuousRequests = DISABLE;
  hadc1.Init.EOCSelection = ADC_EOC_SINGLE_CONV;
  if (HAL_ADC_Init(&hadc1) != HAL_OK)
  {
    Error_Handler();
  }

  /** Configure for the selected ADC regular channel its corresponding rank in the sequencer and its sample time.
  */
  sConfig.Channel = ADC_CHANNEL_10;
  sConfig.Rank = ADC_REGULAR_RANK_1;
  sConfig.SamplingTime = ADC_SAMPLETIME_112CYCLES;
  if (HAL_ADC_ConfigChannel(&hadc1, &sConfig) != HAL_OK)
  {
    Error_Handler();
  }

  /** Configure for the selected ADC regular channel its corresponding rank in the sequencer and its sample time.
  */
  sConfig.Rank = ADC_REGULAR_RANK_2;
  sConfig.SamplingTime = ADC_SAMPLETIME_56CYCLES;
  if (HAL_ADC_ConfigChannel(&hadc1, &sConfig) != HAL_OK)
  {
    Error_Handler();
  }

  /** Configure for the selected ADC regular channel its corresponding rank in the sequencer and its sample time.
  */
  sConfig.Channel = ADC_CHANNEL_13;
  sConfig.Rank = ADC_REGULAR_RANK_3;
  sConfig.SamplingTime = ADC_SAMPLETIME_112CYCLES;
  if (HAL_ADC_ConfigChannel(&hadc1, &sConfig) != HAL_OK)
  {
    Error_Handler();
  }

}

static void MX_ADC3_Init(void)
{

  ADC_ChannelConfTypeDef sConfig = {0};

  /** Configure the global features of the ADC (Clock, Resolution, Data Alignment and number of conversion)
  */
  hadc3.Instance = ADC3;
  hadc3.Init.ClockPrescaler = ADC_CLOCK_SYNC_PCLK_DIV8;
  hadc3.Init.Resolution = ADC_RESOLUTION_12B;
  hadc3.Init.ScanConvMode = ADC_SCAN_ENABLE;
  hadc3.Init.ContinuousConvMode = ENABLE;
  hadc3.Init.DiscontinuousConvMode = DISABLE;
  hadc3.Init.ExternalTrigConvEdge = ADC_EXTERNALTRIGCONVEDGE_NONE;
  hadc3.Init.ExternalTrigConv = ADC_SOFTWARE_START;
  hadc3.Init.DataAlign = ADC_DATAALIGN_RIGHT;
  hadc3.Init.NbrOfConversion = 6;
  hadc3.Init.DMAContinuousRequests = ENABLE;
  hadc3.Init.EOCSelection = ADC_EOC_SINGLE_CONV;
  if (HAL_ADC_Init(&hadc3) != HAL_OK)
  {
    Error_Handler();
  }

  /** Configure for the selected ADC regular channel its corresponding rank in the sequencer and its sample time.
  */
  sConfig.Channel = ADC_CHANNEL_5;
  sConfig.Rank = ADC_REGULAR_RANK_1;
  sConfig.SamplingTime = ADC_SAMPLETIME_480CYCLES;
  if (HAL_ADC_ConfigChannel(&hadc3, &sConfig) != HAL_OK)
  {
    Error_Handler();
  }

  /** Configure for the selected ADC regular channel its corresponding rank in the sequencer and its sample time.
  */
  sConfig.Channel = ADC_CHANNEL_6;
  sConfig.Rank = ADC_REGULAR_RANK_2;
  if (HAL_ADC_ConfigChannel(&hadc3, &sConfig) != HAL_OK)
  {
    Error_Handler();
  }

  /** Configure for the selected ADC regular channel its corresponding rank in the sequencer and its sample time.
  */
  sConfig.Channel = ADC_CHANNEL_7;
  sConfig.Rank = ADC_REGULAR_RANK_3;
  if (HAL_ADC_ConfigChannel(&hadc3, &sConfig) != HAL_OK)
  {
    Error_Handler();
  }

  /** Configure for the selected ADC regular channel its corresponding rank in the sequencer and its sample time.
  */
  sConfig.Channel = ADC_CHANNEL_8;
  sConfig.Rank = ADC_REGULAR_RANK_4;
  if (HAL_ADC_ConfigChannel(&hadc3, &sConfig) != HAL_OK)
  {
    Error_Handler();
  }

  /** Configure for the selected ADC regular channel its corresponding rank in the sequencer and its sample time.
  */
  sConfig.Channel = ADC_CHANNEL_14;
  sConfig.Rank = ADC_REGULAR_RANK_5;
  if (HAL_ADC_ConfigChannel(&hadc3, &sConfig) != HAL_OK)
  {
    Error_Handler();
  }

  /** Configure for the selected ADC regular channel its corresponding rank in the sequencer and its sample time.
  */
  sConfig.Channel = ADC_CHANNEL_15;
  sConfig.Rank = ADC_REGULAR_RANK_6;
  if (HAL_ADC_ConfigChannel(&hadc3, &sConfig) != HAL_OK)
  {
    Error_Handler();
  }

}

static void MX_CAN1_Init(void)
{

  hcan1.Instance = CAN1;
  hcan1.Init.Prescaler = 11;
  hcan1.Init.Mode = CAN_MODE_NORMAL;
  hcan1.Init.SyncJumpWidth = CAN_SJW_1TQ;
  hcan1.Init.TimeSeg1 = CAN_BS1_14TQ;
  hcan1.Init.TimeSeg2 = CAN_BS2_8TQ;
  hcan1.Init.TimeTriggeredMode = DISABLE;
  hcan1.Init.AutoBusOff = DISABLE;
  hcan1.Init.AutoWakeUp = DISABLE;
  hcan1.Init.AutoRetransmission = DISABLE;
  hcan1.Init.ReceiveFifoLocked = DISABLE;
  hcan1.Init.TransmitFifoPriority = DISABLE;
  if (HAL_CAN_Init(&hcan1) != HAL_OK)
  {
    Error_Handler();
  }

}

static void MX_DAC_Init(void)
{

  DAC_ChannelConfTypeDef sConfig = {0};

  /** DAC Initialization
  */
  hdac.Instance = DAC;
  if (HAL_DAC_Init(&hdac) != HAL_OK)
  {
    Error_Handler();
  }

  /** DAC channel OUT1 config
  */
  sConfig.DAC_Trigger = DAC_TRIGGER_NONE;
  sConfig.DAC_OutputBuffer = DAC_OUTPUTBUFFER_ENABLE;
  if (HAL_DAC_ConfigChannel(&hdac, &sConfig, DAC_CHANNEL_1) != HAL_OK)
  {
    Error_Handler();
  }

  /** DAC channel OUT2 config
  */
  if (HAL_DAC_ConfigChannel(&hdac, &sConfig, DAC_CHANNEL_2) != HAL_OK)
  {
    Error_Handler();
  }

}

static void MX_I2C2_SMBUS_Init(void)
{

  hsmbus2.Instance = I2C2;
  hsmbus2.Init.Timing = 0x20404768;
  hsmbus2.Init.AnalogFilter = SMBUS_ANALOGFILTER_ENABLE;
  hsmbus2.Init.OwnAddress1 = 2;
  hsmbus2.Init.AddressingMode = SMBUS_ADDRESSINGMODE_7BIT;
  hsmbus2.Init.DualAddressMode = SMBUS_DUALADDRESS_DISABLE;
  hsmbus2.Init.OwnAddress2 = 0;
  hsmbus2.Init.OwnAddress2Masks = SMBUS_OA2_NOMASK;
  hsmbus2.Init.GeneralCallMode = SMBUS_GENERALCALL_DISABLE;
  hsmbus2.Init.NoStretchMode = SMBUS_NOSTRETCH_DISABLE;
  hsmbus2.Init.PacketErrorCheckMode = SMBUS_PEC_DISABLE;
  hsmbus2.Init.PeripheralMode = SMBUS_PERIPHERAL_MODE_SMBUS_SLAVE;
  hsmbus2.Init.SMBusTimeout = 0x00008293;
  if (HAL_SMBUS_Init(&hsmbus2) != HAL_OK)
  {
    Error_Handler();
  }

  /** configuration Alert Mode
  */
  if (HAL_SMBUS_EnableAlert_IT(&hsmbus2) != HAL_OK)
  {
    Error_Handler();
  }

}

static void MX_TIM1_Init(void)
{

  TIM_ClockConfigTypeDef sClockSourceConfig = {0};
  TIM_MasterConfigTypeDef sMasterConfig = {0};
  TIM_OC_InitTypeDef sConfigOC = {0};
  TIM_BreakDeadTimeConfigTypeDef sBreakDeadTimeConfig = {0};

  /* USER CODE BEGIN TIM1_Init 1 */
  //After MX code gen update sConfigOC.OCMode = TIM_OCMODE_PWM1;
  /* USER CODE END TIM1_Init 1 */
  htim1.Instance = TIM1;
  htim1.Init.Prescaler = 0;
  htim1.Init.CounterMode = TIM_COUNTERMODE_CENTERALIGNED1;
  htim1.Init.Period = SVPWM_period;
  htim1.Init.ClockDivision = TIM_CLOCKDIVISION_DIV1;
  htim1.Init.RepetitionCounter = 0;
  htim1.Init.AutoReloadPreload = TIM_AUTORELOAD_PRELOAD_DISABLE;
  if (HAL_TIM_Base_Init(&htim1) != HAL_OK)
  {
    Error_Handler();
  }
  sClockSourceConfig.ClockSource = TIM_CLOCKSOURCE_INTERNAL;
  if (HAL_TIM_ConfigClockSource(&htim1, &sClockSourceConfig) != HAL_OK)
  {
    Error_Handler();
  }
  if (HAL_TIM_OC_Init(&htim1) != HAL_OK)
  {
    Error_Handler();
  }
  sMasterConfig.MasterOutputTrigger = TIM_TRGO_RESET;
  sMasterConfig.MasterOutputTrigger2 = TIM_TRGO2_RESET;
  sMasterConfig.MasterSlaveMode = TIM_MASTERSLAVEMODE_DISABLE;
  if (HAL_TIMEx_MasterConfigSynchronization(&htim1, &sMasterConfig) != HAL_OK)
  {
    Error_Handler();
  }
  sConfigOC.OCMode = TIM_OCMODE_PWM1;
  sConfigOC.Pulse = 1000;
  sConfigOC.OCPolarity = TIM_OCPOLARITY_HIGH;
  sConfigOC.OCNPolarity = TIM_OCNPOLARITY_HIGH;
  sConfigOC.OCFastMode = TIM_OCFAST_DISABLE;
  sConfigOC.OCIdleState = TIM_OCIDLESTATE_RESET;
  sConfigOC.OCNIdleState = TIM_OCNIDLESTATE_RESET;
  if (HAL_TIM_OC_ConfigChannel(&htim1, &sConfigOC, TIM_CHANNEL_1) != HAL_OK)
  {
    Error_Handler();
  }
  if (HAL_TIM_OC_ConfigChannel(&htim1, &sConfigOC, TIM_CHANNEL_2) != HAL_OK)
  {
    Error_Handler();
  }
  if (HAL_TIM_OC_ConfigChannel(&htim1, &sConfigOC, TIM_CHANNEL_3) != HAL_OK)
  {
    Error_Handler();
  }
  sBreakDeadTimeConfig.OffStateRunMode = TIM_OSSR_DISABLE;
  sBreakDeadTimeConfig.OffStateIDLEMode = TIM_OSSI_DISABLE;
  sBreakDeadTimeConfig.LockLevel = TIM_LOCKLEVEL_OFF;
  sBreakDeadTimeConfig.DeadTime = 100;
  sBreakDeadTimeConfig.BreakState = TIM_BREAK_DISABLE;
  sBreakDeadTimeConfig.BreakPolarity = TIM_BREAKPOLARITY_HIGH;
  sBreakDeadTimeConfig.BreakFilter = 0;
  sBreakDeadTimeConfig.Break2State = TIM_BREAK2_DISABLE;
  sBreakDeadTimeConfig.Break2Polarity = TIM_BREAK2POLARITY_HIGH;
  sBreakDeadTimeConfig.Break2Filter = 0;
  sBreakDeadTimeConfig.AutomaticOutput = TIM_AUTOMATICOUTPUT_DISABLE;
  if (HAL_TIMEx_ConfigBreakDeadTime(&htim1, &sBreakDeadTimeConfig) != HAL_OK)
  {
    Error_Handler();
  }
  HAL_TIM_MspPostInit(&htim1);

}

static void MX_TIM2_Init(void)
{

  TIM_ClockConfigTypeDef sClockSourceConfig = {0};
  TIM_MasterConfigTypeDef sMasterConfig = {0};

  htim2.Instance = TIM2;
  htim2.Init.Prescaler = 107;
  htim2.Init.CounterMode = TIM_COUNTERMODE_UP;
  htim2.Init.Period = 4294967295;
  htim2.Init.ClockDivision = TIM_CLOCKDIVISION_DIV1;
  htim2.Init.AutoReloadPreload = TIM_AUTORELOAD_PRELOAD_DISABLE;
  if (HAL_TIM_Base_Init(&htim2) != HAL_OK)
  {
    Error_Handler();
  }
  sClockSourceConfig.ClockSource = TIM_CLOCKSOURCE_INTERNAL;
  if (HAL_TIM_ConfigClockSource(&htim2, &sClockSourceConfig) != HAL_OK)
  {
    Error_Handler();
  }
  sMasterConfig.MasterOutputTrigger = TIM_TRGO_RESET;
  sMasterConfig.MasterSlaveMode = TIM_MASTERSLAVEMODE_DISABLE;
  if (HAL_TIMEx_MasterConfigSynchronization(&htim2, &sMasterConfig) != HAL_OK)
  {
    Error_Handler();
  }

}

static void MX_TIM3_Init(void)
{

  TIM_Encoder_InitTypeDef sConfig = {0};
  TIM_MasterConfigTypeDef sMasterConfig = {0};

  htim3.Instance = TIM3;
  htim3.Init.Prescaler = 0;
  htim3.Init.CounterMode = TIM_COUNTERMODE_DOWN;
  htim3.Init.Period = 65535;
  htim3.Init.ClockDivision = TIM_CLOCKDIVISION_DIV1;
  htim3.Init.AutoReloadPreload = TIM_AUTORELOAD_PRELOAD_DISABLE;
  sConfig.EncoderMode = TIM_ENCODERMODE_TI12;
  sConfig.IC1Polarity = TIM_ICPOLARITY_RISING;
  sConfig.IC1Selection = TIM_ICSELECTION_DIRECTTI;
  sConfig.IC1Prescaler = TIM_ICPSC_DIV1;
  sConfig.IC1Filter = 100;
  sConfig.IC2Polarity = TIM_ICPOLARITY_FALLING;
  sConfig.IC2Selection = TIM_ICSELECTION_DIRECTTI;
  sConfig.IC2Prescaler = TIM_ICPSC_DIV1;
  sConfig.IC2Filter = 100;
  if (HAL_TIM_Encoder_Init(&htim3, &sConfig) != HAL_OK)
  {
    Error_Handler();
  }
  sMasterConfig.MasterOutputTrigger = TIM_TRGO_RESET;
  sMasterConfig.MasterSlaveMode = TIM_MASTERSLAVEMODE_DISABLE;
  if (HAL_TIMEx_MasterConfigSynchronization(&htim3, &sMasterConfig) != HAL_OK)
  {
    Error_Handler();
  }

}

static void MX_TIM4_Init(void)
{

  TIM_Encoder_InitTypeDef sConfig = {0};
  TIM_MasterConfigTypeDef sMasterConfig = {0};

  htim4.Instance = TIM4;
  htim4.Init.Prescaler = 0;
  htim4.Init.CounterMode = TIM_COUNTERMODE_UP;
  htim4.Init.Period = 65535;
  htim4.Init.ClockDivision = TIM_CLOCKDIVISION_DIV1;
  htim4.Init.AutoReloadPreload = TIM_AUTORELOAD_PRELOAD_DISABLE;
  sConfig.EncoderMode = TIM_ENCODERMODE_TI12;
  sConfig.IC1Polarity = TIM_ICPOLARITY_RISING;
  sConfig.IC1Selection = TIM_ICSELECTION_DIRECTTI;
  sConfig.IC1Prescaler = TIM_ICPSC_DIV1;
  sConfig.IC1Filter = 100;
  sConfig.IC2Polarity = TIM_ICPOLARITY_FALLING;
  sConfig.IC2Selection = TIM_ICSELECTION_DIRECTTI;
  sConfig.IC2Prescaler = TIM_ICPSC_DIV1;
  sConfig.IC2Filter = 100;
  if (HAL_TIM_Encoder_Init(&htim4, &sConfig) != HAL_OK)
  {
    Error_Handler();
  }
  sMasterConfig.MasterOutputTrigger = TIM_TRGO_RESET;
  sMasterConfig.MasterSlaveMode = TIM_MASTERSLAVEMODE_DISABLE;
  if (HAL_TIMEx_MasterConfigSynchronization(&htim4, &sMasterConfig) != HAL_OK)
  {
    Error_Handler();
  }

}

static void MX_TIM5_Init(void)
{

  TIM_ClockConfigTypeDef sClockSourceConfig = {0};
  TIM_MasterConfigTypeDef sMasterConfig = {0};
  TIM_OC_InitTypeDef sConfigOC = {0};

  htim5.Instance = TIM5;
  htim5.Init.Prescaler = 108-1;
  htim5.Init.CounterMode = TIM_COUNTERMODE_UP;
  htim5.Init.Period = 1000;
  htim5.Init.ClockDivision = TIM_CLOCKDIVISION_DIV1;
  htim5.Init.AutoReloadPreload = TIM_AUTORELOAD_PRELOAD_ENABLE;
  if (HAL_TIM_Base_Init(&htim5) != HAL_OK)
  {
    Error_Handler();
  }
  sClockSourceConfig.ClockSource = TIM_CLOCKSOURCE_INTERNAL;
  if (HAL_TIM_ConfigClockSource(&htim5, &sClockSourceConfig) != HAL_OK)
  {
    Error_Handler();
  }
  if (HAL_TIM_PWM_Init(&htim5) != HAL_OK)
  {
    Error_Handler();
  }
  if (HAL_TIM_OnePulse_Init(&htim5, TIM_OPMODE_SINGLE) != HAL_OK)
  {
    Error_Handler();
  }
  sMasterConfig.MasterOutputTrigger = TIM_TRGO_RESET;
  sMasterConfig.MasterSlaveMode = TIM_MASTERSLAVEMODE_DISABLE;
  if (HAL_TIMEx_MasterConfigSynchronization(&htim5, &sMasterConfig) != HAL_OK)
  {
    Error_Handler();
  }
  sConfigOC.OCMode = TIM_OCMODE_PWM2;
  sConfigOC.Pulse = 100; //1000;
  sConfigOC.OCPolarity = TIM_OCPOLARITY_HIGH;
  sConfigOC.OCFastMode = TIM_OCFAST_ENABLE;
  if (HAL_TIM_PWM_ConfigChannel(&htim5, &sConfigOC, TIM_CHANNEL_1) != HAL_OK)
  {
    Error_Handler();
  }
  HAL_TIM_MspPostInit(&htim5);

}

static void MX_TIM8_Init(void)
{

  TIM_MasterConfigTypeDef sMasterConfig = {0};
  TIM_OC_InitTypeDef sConfigOC = {0};
  TIM_BreakDeadTimeConfigTypeDef sBreakDeadTimeConfig = {0};

  htim8.Instance = TIM8;
  htim8.Init.Prescaler = 0;
  htim8.Init.CounterMode = TIM_COUNTERMODE_CENTERALIGNED1;
  htim8.Init.Period = SVPWM_period;
  htim8.Init.ClockDivision = TIM_CLOCKDIVISION_DIV1;
  htim8.Init.RepetitionCounter = 0;
  htim8.Init.AutoReloadPreload = TIM_AUTORELOAD_PRELOAD_DISABLE;
  if (HAL_TIM_OC_Init(&htim8) != HAL_OK)
  {
    Error_Handler();
  }
  sMasterConfig.MasterOutputTrigger = TIM_TRGO_RESET;
  sMasterConfig.MasterOutputTrigger2 = TIM_TRGO2_RESET;
  sMasterConfig.MasterSlaveMode = TIM_MASTERSLAVEMODE_DISABLE;
  if (HAL_TIMEx_MasterConfigSynchronization(&htim8, &sMasterConfig) != HAL_OK)
  {
    Error_Handler();
  }
  sConfigOC.OCMode = TIM_OCMODE_PWM1;
  sConfigOC.Pulse = 1000;
  sConfigOC.OCPolarity = TIM_OCPOLARITY_HIGH;
  sConfigOC.OCNPolarity = TIM_OCNPOLARITY_HIGH;
  sConfigOC.OCFastMode = TIM_OCFAST_DISABLE;
  sConfigOC.OCIdleState = TIM_OCIDLESTATE_RESET;
  sConfigOC.OCNIdleState = TIM_OCNIDLESTATE_RESET;
  if (HAL_TIM_OC_ConfigChannel(&htim8, &sConfigOC, TIM_CHANNEL_1) != HAL_OK)
  {
    Error_Handler();
  }
  if (HAL_TIM_OC_ConfigChannel(&htim8, &sConfigOC, TIM_CHANNEL_2) != HAL_OK)
  {
    Error_Handler();
  }
  if (HAL_TIM_OC_ConfigChannel(&htim8, &sConfigOC, TIM_CHANNEL_3) != HAL_OK)
  {
    Error_Handler();
  }
  sBreakDeadTimeConfig.OffStateRunMode = TIM_OSSR_DISABLE;
  sBreakDeadTimeConfig.OffStateIDLEMode = TIM_OSSI_DISABLE;
  sBreakDeadTimeConfig.LockLevel = TIM_LOCKLEVEL_OFF;
  sBreakDeadTimeConfig.DeadTime = 100;
  sBreakDeadTimeConfig.BreakState = TIM_BREAK_DISABLE;
  sBreakDeadTimeConfig.BreakPolarity = TIM_BREAKPOLARITY_HIGH;
  sBreakDeadTimeConfig.BreakFilter = 0;
  sBreakDeadTimeConfig.Break2State = TIM_BREAK2_DISABLE;
  sBreakDeadTimeConfig.Break2Polarity = TIM_BREAK2POLARITY_HIGH;
  sBreakDeadTimeConfig.Break2Filter = 0;
  sBreakDeadTimeConfig.AutomaticOutput = TIM_AUTOMATICOUTPUT_DISABLE;
  if (HAL_TIMEx_ConfigBreakDeadTime(&htim8, &sBreakDeadTimeConfig) != HAL_OK)
  {
    Error_Handler();
  }
  HAL_TIM_MspPostInit(&htim8);

}

static void MX_TIM12_Init(void)
{

  TIM_SlaveConfigTypeDef sSlaveConfig = {0};

  htim12.Instance = TIM12;
  htim12.Init.Prescaler = 0;
  htim12.Init.CounterMode = TIM_COUNTERMODE_UP;
  htim12.Init.Period = 65535;
  htim12.Init.ClockDivision = TIM_CLOCKDIVISION_DIV1;
  htim12.Init.AutoReloadPreload = TIM_AUTORELOAD_PRELOAD_DISABLE;
  if (HAL_TIM_Base_Init(&htim12) != HAL_OK)
  {
    Error_Handler();
  }
  sSlaveConfig.SlaveMode = TIM_SLAVEMODE_TRIGGER;
  sSlaveConfig.InputTrigger = TIM_TS_ITR0;
  if (HAL_TIM_SlaveConfigSynchro(&htim12, &sSlaveConfig) != HAL_OK)
  {
    Error_Handler();
  }

}

static void MX_USART2_Init(void)
{

  husart2.Instance = USART2;
  husart2.Init.BaudRate = 115200;
  husart2.Init.WordLength = USART_WORDLENGTH_8B;
  husart2.Init.StopBits = USART_STOPBITS_1;
  husart2.Init.Parity = USART_PARITY_NONE;
  husart2.Init.Mode = USART_MODE_TX_RX;
  husart2.Init.CLKPolarity = USART_POLARITY_LOW;
  husart2.Init.CLKPhase = USART_PHASE_1EDGE;
  husart2.Init.CLKLastBit = USART_LASTBIT_DISABLE;
  if (HAL_USART_Init(&husart2) != HAL_OK)
  {
    Error_Handler();
  }

}

static void MX_USART3_UART_Init(void)
{

  huart3.Instance = USART3;
  huart3.Init.BaudRate = 115200;
  huart3.Init.WordLength = UART_WORDLENGTH_8B;
  huart3.Init.StopBits = UART_STOPBITS_1;
  huart3.Init.Parity = UART_PARITY_NONE;
  huart3.Init.Mode = UART_MODE_TX_RX;
  huart3.Init.HwFlowCtl = UART_HWCONTROL_NONE;
  huart3.Init.OverSampling = UART_OVERSAMPLING_16;
  huart3.Init.OneBitSampling = UART_ONE_BIT_SAMPLE_DISABLE;
  huart3.AdvancedInit.AdvFeatureInit = UART_ADVFEATURE_NO_INIT;
  if (HAL_UART_Init(&huart3) != HAL_OK)
  {
    Error_Handler();
  }

}

static void MX_DMA_Init(void)
{

  /* DMA controller clock enable */
  __HAL_RCC_DMA2_CLK_ENABLE();

  /* DMA interrupt init */
  /* DMA2_Stream0_IRQn interrupt configuration */
  HAL_NVIC_SetPriority(DMA2_Stream0_IRQn, 0, 0);
  HAL_NVIC_EnableIRQ(DMA2_Stream0_IRQn);

}

static void MX_GPIO_Init(void)
{
  GPIO_InitTypeDef GPIO_InitStruct = {0};

  /* GPIO Ports Clock Enable */
  __HAL_RCC_GPIOC_CLK_ENABLE();
  __HAL_RCC_GPIOF_CLK_ENABLE();
  __HAL_RCC_GPIOH_CLK_ENABLE();
  __HAL_RCC_GPIOA_CLK_ENABLE();
  __HAL_RCC_GPIOB_CLK_ENABLE();
  __HAL_RCC_GPIOG_CLK_ENABLE();
  __HAL_RCC_GPIOE_CLK_ENABLE();
  __HAL_RCC_GPIOD_CLK_ENABLE();

  /*Configure GPIO pin Output Level */
  HAL_GPIO_WritePin(GPIOF, GPIO_PIN_13|GPIO_PIN_14, GPIO_PIN_RESET);

  /*Configure GPIO pin Output Level */
  HAL_GPIO_WritePin(GPIOG, GPIO_PIN_0|GPIO_PIN_1|USB_PowerSwitchOn_Pin, GPIO_PIN_RESET);

  /*Configure GPIO pin Output Level */
  HAL_GPIO_WritePin(LD2_GPIO_Port, LD2_Pin, GPIO_PIN_RESET);

  /*Configure GPIO pin : USER_Btn_Pin */
  GPIO_InitStruct.Pin = USER_Btn_Pin;
  GPIO_InitStruct.Mode = GPIO_MODE_IT_RISING;
  GPIO_InitStruct.Pull = GPIO_NOPULL;
  HAL_GPIO_Init(USER_Btn_GPIO_Port, &GPIO_InitStruct);

  /*Configure GPIO pin : RMII_MDC_Pin */
  GPIO_InitStruct.Pin = RMII_MDC_Pin;
  GPIO_InitStruct.Mode = GPIO_MODE_AF_PP;
  GPIO_InitStruct.Pull = GPIO_NOPULL;
  GPIO_InitStruct.Speed = GPIO_SPEED_FREQ_VERY_HIGH;
  GPIO_InitStruct.Alternate = GPIO_AF11_ETH;
  HAL_GPIO_Init(RMII_MDC_GPIO_Port, &GPIO_InitStruct);

  /*Configure GPIO pins : PF13 PF14 */
  GPIO_InitStruct.Pin = GPIO_PIN_13|GPIO_PIN_14;
  GPIO_InitStruct.Mode = GPIO_MODE_OUTPUT_PP;
  GPIO_InitStruct.Pull = GPIO_NOPULL;
  GPIO_InitStruct.Speed = GPIO_SPEED_FREQ_LOW;
  HAL_GPIO_Init(GPIOF, &GPIO_InitStruct);

  /*Configure GPIO pins : PG0 PG1 USB_PowerSwitchOn_Pin */
  GPIO_InitStruct.Pin = GPIO_PIN_0|GPIO_PIN_1|USB_PowerSwitchOn_Pin;
  GPIO_InitStruct.Mode = GPIO_MODE_OUTPUT_PP;
  GPIO_InitStruct.Pull = GPIO_NOPULL;
  GPIO_InitStruct.Speed = GPIO_SPEED_FREQ_LOW;
  HAL_GPIO_Init(GPIOG, &GPIO_InitStruct);

  /*Configure GPIO pin : RMII_TXD1_Pin */
  GPIO_InitStruct.Pin = RMII_TXD1_Pin;
  GPIO_InitStruct.Mode = GPIO_MODE_AF_PP;
  GPIO_InitStruct.Pull = GPIO_NOPULL;
  GPIO_InitStruct.Speed = GPIO_SPEED_FREQ_VERY_HIGH;
  GPIO_InitStruct.Alternate = GPIO_AF11_ETH;
  HAL_GPIO_Init(RMII_TXD1_GPIO_Port, &GPIO_InitStruct);

  /*Configure GPIO pins : PG2 PG3 USB_OverCurrent_Pin */
  GPIO_InitStruct.Pin = GPIO_PIN_2|GPIO_PIN_3|USB_OverCurrent_Pin;
  GPIO_InitStruct.Mode = GPIO_MODE_INPUT;
  GPIO_InitStruct.Pull = GPIO_NOPULL;
  HAL_GPIO_Init(GPIOG, &GPIO_InitStruct);

  /*Configure GPIO pin : LD2_Pin */
  GPIO_InitStruct.Pin = LD2_Pin;
  GPIO_InitStruct.Mode = GPIO_MODE_OUTPUT_PP;
  GPIO_InitStruct.Pull = GPIO_NOPULL;
  GPIO_InitStruct.Speed = GPIO_SPEED_FREQ_LOW;
  HAL_GPIO_Init(LD2_GPIO_Port, &GPIO_InitStruct);

  /*Configure GPIO pin : PB8 */
  GPIO_InitStruct.Pin = GPIO_PIN_8;
  GPIO_InitStruct.Mode = GPIO_MODE_AF_PP;
  GPIO_InitStruct.Pull = GPIO_NOPULL;
  GPIO_InitStruct.Speed = GPIO_SPEED_FREQ_LOW;
  GPIO_InitStruct.Alternate = GPIO_AF3_TIM10;
  HAL_GPIO_Init(GPIOB, &GPIO_InitStruct);

  /*Configure GPIO pin : PB9 */
  GPIO_InitStruct.Pin = GPIO_PIN_9;
  GPIO_InitStruct.Mode = GPIO_MODE_AF_PP;
  GPIO_InitStruct.Pull = GPIO_NOPULL;
  GPIO_InitStruct.Speed = GPIO_SPEED_FREQ_LOW;
  GPIO_InitStruct.Alternate = GPIO_AF3_TIM11;
  HAL_GPIO_Init(GPIOB, &GPIO_InitStruct);

}

void Error_Handler(void)
{
  __disable_irq();
  while (1)
  {
  }
}
